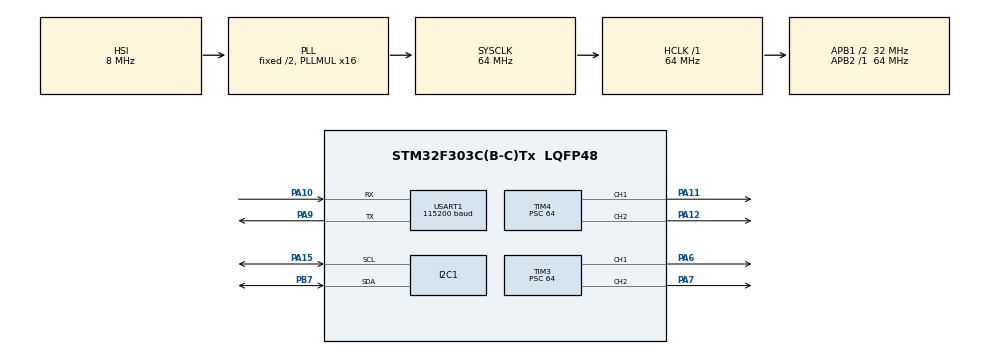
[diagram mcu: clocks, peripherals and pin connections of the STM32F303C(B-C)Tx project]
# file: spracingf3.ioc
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Mcu.Family=STM32F3
TIM4.Channel-PWM\ Generation1\ CH1=TIM_CHANNEL_1
RCC.CortexFreq_Value=64000000
NVIC.I2C1_EV_IRQn=true\:0\:0\:false\:false\:true\:true\:true
PA10.Mode=Asynchronous
USART1.BaudRate=115200
RCC.SYSCLKSourceVirtual=RCC_SYSCLKSOURCE_PLLCLK
RCC.APB1CLKDivider=RCC_HCLK_DIV2
ProjectManager.StackSize=0x400
USART1.VirtualMode-Asynchronous=VM_ASYNC
PA13.Signal=SYS_JTMS-SWDIO
TIM1.AutoReloadPreload=TIM_AUTORELOAD_PRELOAD_DISABLE
PA9.Mode=Asynchronous
PA12.Signal=S_TIM4_CH2
TIM1.Prescaler=64
ProjectManager.TargetToolchain=STM32CubeIDE
RCC.HCLKFreq_Value=64000000
RCC.APB2TimFreq_Value=64000000
TIM3.Period=10000
PA9.Signal=USART1_TX
TIM2.ClockDivision=TIM_CLOCKDIVISION_DIV4
RCC.USBFreq_Value=64000000
TIM4.Prescaler=64
RCC.LSE_VALUE=32768
RCC.AHBFreq_Value=64000000
TIM3.Channel-PWM\ Generation1\ CH1=TIM_CHANNEL_1
SH.S_TIM3_CH2.0=TIM3_CH2,PWM Generation2 CH2
RCC.HSE_VALUE=8000000
NVIC.TIM1_BRK_TIM15_IRQn=true\:0\:0\:false\:false\:true\:true\:true
board=custom
PA15.Mode=I2C
RCC.PLLMUL=RCC_PLL_MUL16
NVIC.TIM1_TRG_COM_TIM17_IRQn=true\:0\:0\:false\:false\:true\:true\:true
TIM4.Channel-PWM\ Generation2\ CH2=TIM_CHANNEL_2
RCC.APB2Freq_Value=64000000
TIM4.ClockDivision=TIM_CLOCKDIVISION_DIV1
VP_TIM2_VS_ClockSourceINT.Mode=Internal
PA14.Mode=Serial_Wire
TIM3.Prescaler=64
SH.S_TIM4_CH2.0=TIM4_CH2,PWM Generation2 CH2
PB7.Signal=I2C1_SDA
SH.S_TIM3_CH1.0=TIM3_CH1,PWM Generation1 CH1
TIM2.Period=10000
TIM4.Period=1000
PA13.Mode=Serial_Wire
Mcu.Name=STM32F303C(B-C)Tx
VP_TIM1_VS_ClockSourceINT.Mode=Internal
NVIC.TIM1_CC_IRQn=true\:0\:0\:false\:false\:true\:true\:true
RCC.SYSCLKFreq_VALUE=64000000
Mcu.Package=LQFP48
TIM2.Prescaler=64
PA6.Signal=S_TIM3_CH1
PB7.Mode=I2C
PA11.Signal=S_TIM4_CH1
PA10.Signal=USART1_RX
PA14.Signal=SYS_JTCK-SWCLK
PA15.Signal=I2C1_SCL
ProjectManager.HeapSize=0x200
RCC.HSI_VALUE=8000000
VP_TIM4_VS_ClockSourceINT.Mode=Internal
NVIC.TIM1_UP_TIM16_IRQn=true\:0\:0\:false\:false\:true\:true\:true
NVIC.PriorityGroup=NVIC_PRIORITYGROUP_4
TIM3.Channel-PWM\ Generation2\ CH2=TIM_CHANNEL_2
SH.S_TIM4_CH1.0=TIM4_CH1,PWM Generation1 CH1
RCC.APB1TimFreq_Value=64000000
TIM2.AutoReloadPreload=TIM_AUTORELOAD_PRELOAD_ENABLE
TIM1.Period=10000
RCC.APB1Freq_Value=32000000
VP_TIM3_VS_ClockSourceINT.Mode=Internal
PA7.Signal=S_TIM3_CH2

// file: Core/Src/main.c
/* USER CODE BEGIN Header */
/**
  ******************************************************************************
  * @file           : main.c
  * @brief          : Main program body
  ******************************************************************************
  * @attention
  *
  * <h2><center>&copy; Copyright (c) 2024 STMicroelectronics.
  * All rights reserved.</center></h2>
  *
  * This software component is licensed by ST under BSD 3-Clause license,
  * the "License"; You may not use this file except in compliance with the
  * License. You may obtain a copy of the License at:
  *                        opensource.org/licenses/BSD-3-Clause
  *
  ******************************************************************************
  */
/* USER CODE END Header */
#include "main.h"

/* USER CODE BEGIN Includes */
#include <stdio.h>

#include "gpio_wrapper.h"
#include "sched.h"
#include "pwmin.h"
/* USER CODE END Includes */

/* USER CODE BEGIN PD */
int milis = 0;
/* USER CODE END PD */

I2C_HandleTypeDef hi2c1;

TIM_HandleTypeDef htim1;
TIM_HandleTypeDef htim2;
TIM_HandleTypeDef htim3;
TIM_HandleTypeDef htim4;

UART_HandleTypeDef huart1;

void SystemClock_Config(void);
static void MX_GPIO_Init(void);
static void MX_USART1_UART_Init(void);
static void MX_I2C1_Init(void);
static void MX_TIM3_Init(void);
static void MX_TIM4_Init(void);
static void MX_TIM2_Init(void);
static void MX_TIM1_Init(void);

/* USER CODE BEGIN 0 */
int __io_putchar(int ch)
{
  /* Place your implementation of fputc here */
  /* e.g. write a character to the USART1 and Loop until the end of transmission */
  HAL_UART_Transmit(&huart1, (uint8_t *)&ch, 1, 0xFFFF);

  return ch;
}

void read_pwm(task_arg arg)
{
	int width = pwmin_width(0);
	printf("st %d\n",width);
	width = pwmin_width(1);
	printf("th %d\n",width);
	width = pwmin_width(2);
	printf("ga %d\n",width);
}

/* USER CODE END 0 */

int main(void)
{

  /* MCU Configuration--------------------------------------------------------*/

  /* Reset of all peripherals, Initializes the Flash interface and the Systick. */
  HAL_Init();

  /* Configure the system clock */
  SystemClock_Config();

  /* USER CODE BEGIN SysInit */
  sched_init();
  /* USER CODE END SysInit */

  /* Initialize all configured peripherals */
  MX_GPIO_Init();
  MX_USART1_UART_Init();
  MX_I2C1_Init();
  MX_TIM3_Init();
  MX_TIM4_Init();
  MX_TIM2_Init();
  MX_TIM1_Init();
  /* USER CODE BEGIN 2 */
  task next_task;
  gpio_init();
  gpio_dir(LED_PIN,1);
  HAL_TIM_Base_Start_IT(&htim1);
  HAL_TIM_Base_Start(&htim2);
  HAL_TIM_Base_Start(&htim3);
  HAL_TIM_Base_Start(&htim4);
  HAL_TIM_Base_MspInit(&htim1);
  delay_init();
  int steer_pwm = pwmin_init(STEERING);
  int throttle_pwm = pwmin_init(THROTTLE);
  int gain_pwm = pwmin_init(GAIN);
  printf("start\n");

  /* USER CODE END 2 */

  /* Infinite loop */
  /* USER CODE BEGIN WHILE */

  while (1)
  {
	if(sched_get_task(&next_task))
	{
		if(next_task.func)
		{
			next_task.func(next_task.arg);
		}
	}
	else
	{
		//HAL_PWR_EnterSLEEPMode(PWR_MAINREGULATOR_ON, PWR_SLEEPENTRY_WFI);
		gpio_write(LED_PIN,0);
		__WFI();
		gpio_write(LED_PIN,1);
	}

    /* USER CODE END WHILE */

  }
}

void SystemClock_Config(void)
{
  RCC_OscInitTypeDef RCC_OscInitStruct = {0};
  RCC_ClkInitTypeDef RCC_ClkInitStruct = {0};
  RCC_PeriphCLKInitTypeDef PeriphClkInit = {0};

  /** Initializes the RCC Oscillators according to the specified parameters
  * in the RCC_OscInitTypeDef structure.
  */
  RCC_OscInitStruct.OscillatorType = RCC_OSCILLATORTYPE_HSI;
  RCC_OscInitStruct.HSIState = RCC_HSI_ON;
  RCC_OscInitStruct.HSICalibrationValue = RCC_HSICALIBRATION_DEFAULT;
  RCC_OscInitStruct.PLL.PLLState = RCC_PLL_ON;
  RCC_OscInitStruct.PLL.PLLSource = RCC_PLLSOURCE_HSI;
  RCC_OscInitStruct.PLL.PLLMUL = RCC_PLL_MUL16;
  if (HAL_RCC_OscConfig(&RCC_OscInitStruct) != HAL_OK)
  {
    Error_Handler();
  }
  /** Initializes the CPU, AHB and APB buses clocks
  */
  RCC_ClkInitStruct.ClockType = RCC_CLOCKTYPE_HCLK|RCC_CLOCKTYPE_SYSCLK
                              |RCC_CLOCKTYPE_PCLK1|RCC_CLOCKTYPE_PCLK2;
  RCC_ClkInitStruct.SYSCLKSource = RCC_SYSCLKSOURCE_PLLCLK;
  RCC_ClkInitStruct.AHBCLKDivider = RCC_SYSCLK_DIV1;
  RCC_ClkInitStruct.APB1CLKDivider = RCC_HCLK_DIV2;
  RCC_ClkInitStruct.APB2CLKDivider = RCC_HCLK_DIV1;

  if (HAL_RCC_ClockConfig(&RCC_ClkInitStruct, FLASH_LATENCY_2) != HAL_OK)
  {
    Error_Handler();
  }
  PeriphClkInit.PeriphClockSelection = RCC_PERIPHCLK_USART1|RCC_PERIPHCLK_I2C1
                              |RCC_PERIPHCLK_TIM1;
  PeriphClkInit.Usart1ClockSelection = RCC_USART1CLKSOURCE_PCLK2;
  PeriphClkInit.I2c1ClockSelection = RCC_I2C1CLKSOURCE_HSI;
  PeriphClkInit.Tim1ClockSelection = RCC_TIM1CLK_HCLK;
  if (HAL_RCCEx_PeriphCLKConfig(&PeriphClkInit) != HAL_OK)
  {
    Error_Handler();
  }
}

static void MX_I2C1_Init(void)
{

  hi2c1.Instance = I2C1;
  hi2c1.Init.Timing = 0x2000090E;
  hi2c1.Init.OwnAddress1 = 0;
  hi2c1.Init.AddressingMode = I2C_ADDRESSINGMODE_7BIT;
  hi2c1.Init.DualAddressMode = I2C_DUALADDRESS_DISABLE;
  hi2c1.Init.OwnAddress2 = 0;
  hi2c1.Init.OwnAddress2Masks = I2C_OA2_NOMASK;
  hi2c1.Init.GeneralCallMode = I2C_GENERALCALL_DISABLE;
  hi2c1.Init.NoStretchMode = I2C_NOSTRETCH_DISABLE;
  if (HAL_I2C_Init(&hi2c1) != HAL_OK)
  {
    Error_Handler();
  }
  /** Configure Analogue filter
  */
  if (HAL_I2CEx_ConfigAnalogFilter(&hi2c1, I2C_ANALOGFILTER_ENABLE) != HAL_OK)
  {
    Error_Handler();
  }
  /** Configure Digital filter
  */
  if (HAL_I2CEx_ConfigDigitalFilter(&hi2c1, 0) != HAL_OK)
  {
    Error_Handler();
  }

}

static void MX_TIM1_Init(void)
{

  TIM_ClockConfigTypeDef sClockSourceConfig = {0};
  TIM_MasterConfigTypeDef sMasterConfig = {0};

  htim1.Instance = TIM1;
  htim1.Init.Prescaler = 64;
  htim1.Init.CounterMode = TIM_COUNTERMODE_UP;
  htim1.Init.Period = 10000;
  htim1.Init.ClockDivision = TIM_CLOCKDIVISION_DIV1;
  htim1.Init.RepetitionCounter = 0;
  htim1.Init.AutoReloadPreload = TIM_AUTORELOAD_PRELOAD_DISABLE;
  if (HAL_TIM_Base_Init(&htim1) != HAL_OK)
  {
    Error_Handler();
  }
  sClockSourceConfig.ClockSource = TIM_CLOCKSOURCE_INTERNAL;
  if (HAL_TIM_ConfigClockSource(&htim1, &sClockSourceConfig) != HAL_OK)
  {
    Error_Handler();
  }
  sMasterConfig.MasterOutputTrigger = TIM_TRGO_RESET;
  sMasterConfig.MasterOutputTrigger2 = TIM_TRGO2_RESET;
  sMasterConfig.MasterSlaveMode = TIM_MASTERSLAVEMODE_DISABLE;
  if (HAL_TIMEx_MasterConfigSynchronization(&htim1, &sMasterConfig) != HAL_OK)
  {
    Error_Handler();
  }
  /* USER CODE BEGIN TIM1_Init 2 */
  HAL_NVIC_SetPriority(TIM1_BRK_TIM15_IRQn, 0, 0);
  HAL_NVIC_EnableIRQ(TIM1_BRK_TIM15_IRQn);
  HAL_NVIC_SetPriority(TIM1_UP_TIM16_IRQn, 0, 0);
  HAL_NVIC_EnableIRQ(TIM1_UP_TIM16_IRQn);
  HAL_NVIC_SetPriority(TIM1_TRG_COM_TIM17_IRQn, 0, 0);
  HAL_NVIC_EnableIRQ(TIM1_TRG_COM_TIM17_IRQn);
  HAL_NVIC_SetPriority(TIM1_CC_IRQn, 0, 0);
  HAL_NVIC_EnableIRQ(TIM1_CC_IRQn);
  /* USER CODE END TIM1_Init 2 */

}

static void MX_TIM2_Init(void)
{

  TIM_ClockConfigTypeDef sClockSourceConfig = {0};
  TIM_MasterConfigTypeDef sMasterConfig = {0};

  htim2.Instance = TIM2;
  htim2.Init.Prescaler = 64;
  htim2.Init.CounterMode = TIM_COUNTERMODE_UP;
  htim2.Init.Period = 10000;
  htim2.Init.ClockDivision = TIM_CLOCKDIVISION_DIV4;
  htim2.Init.AutoReloadPreload = TIM_AUTORELOAD_PRELOAD_ENABLE;
  if (HAL_TIM_Base_Init(&htim2) != HAL_OK)
  {
    Error_Handler();
  }
  sClockSourceConfig.ClockSource = TIM_CLOCKSOURCE_INTERNAL;
  if (HAL_TIM_ConfigClockSource(&htim2, &sClockSourceConfig) != HAL_OK)
  {
    Error_Handler();
  }
  sMasterConfig.MasterOutputTrigger = TIM_TRGO_RESET;
  sMasterConfig.MasterSlaveMode = TIM_MASTERSLAVEMODE_DISABLE;
  if (HAL_TIMEx_MasterConfigSynchronization(&htim2, &sMasterConfig) != HAL_OK)
  {
    Error_Handler();
  }

}

static void MX_TIM3_Init(void)
{

  TIM_ClockConfigTypeDef sClockSourceConfig = {0};
  TIM_MasterConfigTypeDef sMasterConfig = {0};
  TIM_OC_InitTypeDef sConfigOC = {0};

  htim3.Instance = TIM3;
  htim3.Init.Prescaler = 64;
  htim3.Init.CounterMode = TIM_COUNTERMODE_UP;
  htim3.Init.Period = 10000;
  htim3.Init.ClockDivision = TIM_CLOCKDIVISION_DIV1;
  htim3.Init.AutoReloadPreload = TIM_AUTORELOAD_PRELOAD_DISABLE;
  if (HAL_TIM_Base_Init(&htim3) != HAL_OK)
  {
    Error_Handler();
  }
  sClockSourceConfig.ClockSource = TIM_CLOCKSOURCE_INTERNAL;
  if (HAL_TIM_ConfigClockSource(&htim3, &sClockSourceConfig) != HAL_OK)
  {
    Error_Handler();
  }
  if (HAL_TIM_PWM_Init(&htim3) != HAL_OK)
  {
    Error_Handler();
  }
  sMasterConfig.MasterOutputTrigger = TIM_TRGO_RESET;
  sMasterConfig.MasterSlaveMode = TIM_MASTERSLAVEMODE_DISABLE;
  if (HAL_TIMEx_MasterConfigSynchronization(&htim3, &sMasterConfig) != HAL_OK)
  {
    Error_Handler();
  }
  sConfigOC.OCMode = TIM_OCMODE_PWM1;
  sConfigOC.Pulse = 0;
  sConfigOC.OCPolarity = TIM_OCPOLARITY_HIGH;
  sConfigOC.OCFastMode = TIM_OCFAST_DISABLE;
  if (HAL_TIM_PWM_ConfigChannel(&htim3, &sConfigOC, TIM_CHANNEL_1) != HAL_OK)
  {
    Error_Handler();
  }
  if (HAL_TIM_PWM_ConfigChannel(&htim3, &sConfigOC, TIM_CHANNEL_2) != HAL_OK)
  {
    Error_Handler();
  }
  HAL_TIM_MspPostInit(&htim3);

}

static void MX_TIM4_Init(void)
{

  TIM_ClockConfigTypeDef sClockSourceConfig = {0};
  TIM_MasterConfigTypeDef sMasterConfig = {0};
  TIM_OC_InitTypeDef sConfigOC = {0};

  htim4.Instance = TIM4;
  htim4.Init.Prescaler = 64;
  htim4.Init.CounterMode = TIM_COUNTERMODE_UP;
  htim4.Init.Period = 1000;
  htim4.Init.ClockDivision = TIM_CLOCKDIVISION_DIV1;
  htim4.Init.AutoReloadPreload = TIM_AUTORELOAD_PRELOAD_DISABLE;
  if (HAL_TIM_Base_Init(&htim4) != HAL_OK)
  {
    Error_Handler();
  }
  sClockSourceConfig.ClockSource = TIM_CLOCKSOURCE_INTERNAL;
  if (HAL_TIM_ConfigClockSource(&htim4, &sClockSourceConfig) != HAL_OK)
  {
    Error_Handler();
  }
  if (HAL_TIM_PWM_Init(&htim4) != HAL_OK)
  {
    Error_Handler();
  }
  sMasterConfig.MasterOutputTrigger = TIM_TRGO_RESET;
  sMasterConfig.MasterSlaveMode = TIM_MASTERSLAVEMODE_DISABLE;
  if (HAL_TIMEx_MasterConfigSynchronization(&htim4, &sMasterConfig) != HAL_OK)
  {
    Error_Handler();
  }
  sConfigOC.OCMode = TIM_OCMODE_PWM1;
  sConfigOC.Pulse = 0;
  sConfigOC.OCPolarity = TIM_OCPOLARITY_HIGH;
  sConfigOC.OCFastMode = TIM_OCFAST_DISABLE;
  if (HAL_TIM_PWM_ConfigChannel(&htim4, &sConfigOC, TIM_CHANNEL_1) != HAL_OK)
  {
    Error_Handler();
  }
  if (HAL_TIM_PWM_ConfigChannel(&htim4, &sConfigOC, TIM_CHANNEL_2) != HAL_OK)
  {
    Error_Handler();
  }
  HAL_TIM_MspPostInit(&htim4);

}

static void MX_USART1_UART_Init(void)
{

  huart1.Instance = USART1;
  huart1.Init.BaudRate = 115200;
  huart1.Init.WordLength = UART_WORDLENGTH_8B;
  huart1.Init.StopBits = UART_STOPBITS_1;
  huart1.Init.Parity = UART_PARITY_NONE;
  huart1.Init.Mode = UART_MODE_TX_RX;
  huart1.Init.HwFlowCtl = UART_HWCONTROL_NONE;
  huart1.Init.OverSampling = UART_OVERSAMPLING_16;
  huart1.Init.OneBitSampling = UART_ONE_BIT_SAMPLE_DISABLE;
  huart1.AdvancedInit.AdvFeatureInit = UART_ADVFEATURE_NO_INIT;
  if (HAL_UART_Init(&huart1) != HAL_OK)
  {
    Error_Handler();
  }

}

static void MX_GPIO_Init(void)
{

  /* GPIO Ports Clock Enable */
  __HAL_RCC_GPIOA_CLK_ENABLE();
  __HAL_RCC_GPIOB_CLK_ENABLE();

}

/* USER CODE BEGIN 4 */
// Callback: timer has rolled over
void HAL_TIM_PeriodElapsedCallback(TIM_HandleTypeDef *htim)
{
  // Check which version of the timer triggered this callback and toggle LED
  if (htim == &htim1 )
  {
    milis+=10;
    if(milis%200 == 0)
    {
    	task t;
    	t.arg.argi = milis;
    	t.func = read_pwm;
    	sched_add_task(&t);
    }
    delay_update(10);
  }
  else
  {
	  while(1);
  }
}

/* USER CODE END 4 */

void Error_Handler(void)
{
  __disable_irq();
  while (1)
  {
  }
}

/************************ (C) COPYRIGHT STMicroelectronics *****END OF FILE****/
